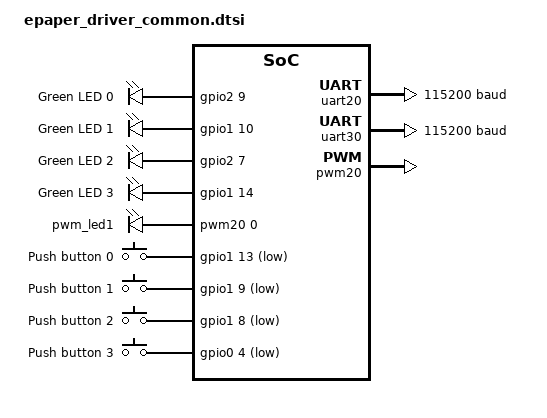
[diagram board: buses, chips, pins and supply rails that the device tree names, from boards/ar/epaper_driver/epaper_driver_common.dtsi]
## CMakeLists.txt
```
cmake_minimum_required(VERSION 3.20.0)

set(BOARD nrf54l15dk/nrf54l15/cpuapp)

#find_package(Zephyr)
find_package(Zephyr REQUIRED HINTS $ENV{ZEPHYR_BASE})
project(zapp)

add_subdirectory(drivers)
zephyr_include_directories(include)

target_sources(app PRIVATE src/main.c src/cbor.c src/coap_request.c src/heatshrink/heatshrink_decoder.c src/wrapped_settings.c)
target_link_libraries(app PRIVATE generic_epaper)
```

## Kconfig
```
source "Kconfig.zephyr"

rsource "drivers/Kconfig"
```

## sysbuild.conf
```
SB_CONFIG_BOOTLOADER_MCUBOOT=y

SB_CONFIG_BOOT_SIGNATURE_TYPE_ED25519=y

# Having the private key sitting out here in the wild is a bad practice.
# It _should_ be stored in vault or a similar HSM-backed store.
# Zephyr does _not_ have good support for this flow at all.
# Manually signing the app would be fine, but injecting the public part into mcuboot is.... poorly supported.
# (CONFIG_MCUBOOT_GENERATE_UNSIGNED_IMAGE would produce an unsigned binary I think)
# mcuboot/boot/zephyr/CMakeLists.txt injects the keyfile into "autogen-pubkey.c".
# This would need a patch to accept a public key directly via a config flag (not _that_ bad....)
# I feel like in a real production app, sysbuild just makes things overly complex.
SB_CONFIG_BOOT_SIGNATURE_KEY_FILE="${APP_DIR}/signing_key.pem"
```

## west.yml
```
manifest:
  remotes:
    - name: zephyrproject-rtos
      url-base: https://github.com/zephyrproject-rtos

  projects:
    - name: zephyr
      remote: zephyrproject-rtos
      revision: main
      import:
        # By using name-allowlist we can clone only the modules that are
        # strictly needed by the application.
        name-allowlist:
          - cmsis_6    # required by the ARM port for Cortex-M
          - hal_stm32  # required by the nucleo_f302r8 board (STM32 based)
```

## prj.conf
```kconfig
CONFIG_GPIO=y
CONFIG_LOG=y
CONFIG_HEAP_MEM_POOL_SIZE=16384
CONFIG_DISPLAY_LOG_LEVEL_INF=y

CONFIG_SYSTEM_WORKQUEUE_STACK_SIZE=4096
CONFIG_MAIN_STACK_SIZE=8192

CONFIG_GENERIC_EPAPER=y

#Uncomment these for RTT shell/console/logs
CONFIG_RTT_CONSOLE=y
CONFIG_USE_SEGGER_RTT=y
CONFIG_SHELL_BACKEND_RTT=y

# Uncomment these for UART shell/console/logs
#CONFIG_USE_SEGGER_RTT=n
#CONFIG_UART_CONSOLE=y
#CONFIG_SHELL_BACKEND_SERIAL=y
#CONFIG_LOG_BACKEND_UART=y

#CONFIG_SHELL_BACKEND_SERIAL=y

CONFIG_SHELL_LOG_BACKEND=y
CONFIG_SHELL_STACK_SIZE=8192
#CONFIG_LOG_BACKEND_UART=y
#CONFIG_USE_SEGGER_RTT=n

CONFIG_LOG_BUFFER_SIZE=8096
#openthread logging is super noisy because platform/logging.c doesn't dynamically set LOG_LEVEL: #define LOG_LEVEL LOG_LEVEL_DBG
#CONFIG_LOG_DEFAULT_LEVEL=4
#CONFIG_LOG_MAX_LEVEL=4

CONFIG_SHELL=y

CONFIG_NETWORKING=y
CONFIG_NET_SHELL=y
CONFIG_NET_L2_OPENTHREAD=y

CONFIG_OPENTHREAD_SYS_INIT=y
CONFIG_OPENTHREAD_MANUAL_START=y
CONFIG_OPENTHREAD_SHELL=y
CONFIG_OPENTHREAD_PING_SENDER=y
CONFIG_OPENTHREAD_SLAAC=y
CONFIG_OPENTHREAD_THREAD_VERSION_1_3=y

#CONFIG_OPENTHREAD_DEBUG=y
#CONFIG_OPENTHREAD_FULL_LOGS=y
#CONFIG_OPENTHREAD_LOG_LEVEL_INFO=y
#CONFIG_OPENTHREAD_L2_DEBUG=n
#CONFIG_OPENTHREAD_L2_LOG_LEVEL_INF=y

# Disable openthread using the zephyr settings API for data storage.
# It writes every time it tries to connect to the network, which is unacceptable
# for write endurance. Maybe if we hook up external flash and use zms / littlefs there,
# it would be OK. For now though, we'll just inject the dataset and everything else
# can be in RAM. This probably means initial connection to the network will take slightly longer.
# But we can't quite do that, since CONFIG_OPENTHREAD_PSA_NVM_BACKEND_ITS winds up being set which stores things in settings _anyways_...
# can we turn that off?
#CONFIG_OPENTHREAD_SETTINGS_RAM=y
#CONFIG_OPENTHREAD_CRYPTO_PSA=n

CONFIG_OPENTHREAD_MTD=y

CONFIG_NCS_APPLICATION_BOOT_BANNER_STRING="epaper-thingy"

# rram will eventually wear out. We write ~38 bytes per boot (plus a little bit more)
# ((4096-80) x 8 x 10000) / 38 = 8454736 boots before we exhaust RRAM.
# even waking every minute that's 18 years before things break.
# in practice, we'll wake every like 6 hours so it'll last well past the expected life of the device.

# https://devzone.nordicsemi.com/f/nordic-q-a/117093/how-to-configure-settings-api-to-work-on-a-specific-partition-defined-in-the-pm_static-yaml-file
# suggests building then renaming to pm_static.yaml.
# (it's in build/partitions.yaml)
# This seems dumb. Why can't I use DT to define it??

CONFIG_MCUBOOT_IMG_MANAGER=y
CONFIG_IMG_MANAGER=y
CONFIG_IMG_MANAGER_LOG_LEVEL_DBG=y
# MCUBOOT_BOOTUTIL_LIB

CONFIG_PM_PARTITION_SIZE_SETTINGS_STORAGE=0x8000

CONFIG_COAP=y
CONFIG_COAP_CLIENT=y
CONFIG_COAP_LOG_LEVEL_INF=y
CONFIG_COAP_CLIENT_STACK_SIZE=4096

CONFIG_NET_LOG=y

CONFIG_NET_UDP=y
CONFIG_NET_SOCKETS=y
CONFIG_NET_CONNECTION_MANAGER=y

CONFIG_IMG_BLOCK_BUF_SIZE=512

# CONFIG_SETTINGS_ZMS_SECTOR_COUNT
# CONFIG_SETTINGS_ZMS_CUSTOM_SECTOR_COUNT

CONFIG_FLASH=y
CONFIG_FLASH_MAP=y
CONFIG_STREAM_FLASH=y
CONFIG_NVS=n
CONFIG_SETTINGS=y
CONFIG_SETTINGS_RUNTIME=y
#CONFIG_SETTINGS_NVS=y
#CONFIG_NVS_LOG_LEVEL_DBG=y
CONFIG_SETTINGS_ZMS=y
CONFIG_ZMS=y
CONFIG_ZMS_LOG_LEVEL_DBG=y
CONFIG_ZMS_LOOKUP_CACHE=y
CONFIG_ZMS_LOOKUP_CACHE_FOR_SETTINGS=y
CONFIG_ZMS_NO_DOUBLE_WRITE=y
CONFIG_SETTINGS_LOG_LEVEL_DBG=y
CONFIG_SETTINGS_ZMS_MAX_COLLISIONS_BITS=4
CONFIG_SETTINGS_SHELL=y
CONFIG_SETTINGS_LOG_LEVEL_DBG=y

# enable uart driver
CONFIG_SERIAL=y
# enable console
CONFIG_CONSOLE=y

CONFIG_ZCBOR=y
CONFIG_ZCBOR_CANONICAL=y

CONFIG_UART_CONSOLE_LOG_LEVEL_DBG=y

CONFIG_WATCHDOG=y
CONFIG_WDT_DISABLE_AT_BOOT=y
CONFIG_SENSOR=y
CONFIG_SENSOR_SHELL=y
CONFIG_REGULATOR=y
CONFIG_REGULATOR_SHELL=n
CONFIG_HW_ID_LIBRARY=y

CONFIG_I2C_LOG_LEVEL_INF=y
```

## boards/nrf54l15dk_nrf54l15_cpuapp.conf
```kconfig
# disable low frequency oscillator

CONFIG_CLOCK_CONTROL=y
CONFIG_CLOCK_CONTROL_NRF=y

# use grtc as system timer
CONFIG_NRF_GRTC_TIMER=y
CONFIG_NRF_GRTC_START_SYSCOUNTER=y

# Enable LFRC (internal RC oscillator)
CONFIG_CLOCK_CONTROL_NRF_K32SRC_RC=y
CONFIG_CLOCK_CONTROL_NRF_K32SRC_FREQUENCY=32768

# Disable LFXO (external 32kHz crystal)
CONFIG_CLOCK_CONTROL_NRF_K32SRC_XTAL=n

# Disable synthesized LFCLK from HFCLK
CONFIG_CLOCK_CONTROL_NRF_K32SRC_SYNTH=n

CONFIG_CLOCK_CONTROL_NRF_K32SRC_500PPM=y
CONFIG_CLOCK_CONTROL_NRF_K32SRC_RC_CALIBRATION=y
CONFIG_CLOCK_CONTROL_NRF_CALIBRATION_LF_ALWAYS_ON=y
```

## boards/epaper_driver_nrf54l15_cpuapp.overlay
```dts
/ {
    chosen {
      //zephyr,settings-partition = &storage_partition;
    };

    leds {
      compatible = "gpio-leds";
	  };

    aliases {
      heartbeat-led = &led0;
    };

};

&pinctrl {
  spi21_default: spi21_default {
    group1 {
      psels = <NRF_PSEL(SPIM_SCK, 1, 12)>,
        <NRF_PSEL(SPIM_MOSI, 1, 11)>,
        <NRF_PSEL(SPIM_MISO, 1, 7)>;
    };
  };

  spi21_sleep: spi21_sleep {
    group1 {
      psels = <NRF_PSEL(SPIM_SCK, 1, 12)>,
        <NRF_PSEL(SPIM_MOSI, 1, 11)>,
        <NRF_PSEL(SPIM_MISO, 1, 7)>;
        low-power-enable;
    };
  };
};

&spi21 {
	clock-frequency = <DT_FREQ_M(1)>;
	status = "okay";
  cs-gpios = <&gpio1 13 GPIO_ACTIVE_LOW>;
  pinctrl-0 = <&spi21_default>;
	pinctrl-1 = <&spi21_sleep>;
	pinctrl-names = "default", "sleep";

  eink: generic_epaper@0 {
        reg = <0x0>;
        spi-max-frequency = <DT_FREQ_M(1)>;
        status = "okay";
        compatible = "ar,generic-epaper";

        reset-gpios = <&gpio1 8 GPIO_ACTIVE_LOW>;
        dc-gpios = <&gpio1 14 GPIO_ACTIVE_HIGH>;
        busy-gpios = <&gpio1 9 (GPIO_ACTIVE_LOW | GPIO_PULL_UP)>;
        en-gpios = <&gpio1 10 GPIO_ACTIVE_LOW>;
  };

};
```

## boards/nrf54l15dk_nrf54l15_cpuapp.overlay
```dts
/ {
    chosen {
      //zephyr,settings-partition = &storage_partition;
    };

};

/delete-node/ &lfxo;

&grtc {
      /delete-property/ clocks;
      /delete-property/ clock-names;
      clocks = <&pclk>;
      clock-names = "hfclock";

      owned-channels = <0 1 2 3 4 5 6 7 8 9 10 11>;
	/* Channels 7-11 reserved for Zero Latency IRQs, 3-4 for FLPR */
	child-owned-channels = <3 4 7 8 9 10 11>;
	status = "okay";
};

&pinctrl {
  spi21_default: spi21_default {
    group1 {
      psels = <NRF_PSEL(SPIM_SCK, 1, 8)>,
        <NRF_PSEL(SPIM_MOSI, 1, 9)>,
        <NRF_PSEL(SPIM_MISO, 1, 13)>;
    };
  };

  spi21_sleep: spi21_sleep {
    group1 {
      psels = <NRF_PSEL(SPIM_SCK, 1, 8)>,
        <NRF_PSEL(SPIM_MOSI, 1, 9)>,
        <NRF_PSEL(SPIM_MISO, 1, 13)>;
        low-power-enable;
    };
  };
};

&spi21 {
	clock-frequency = <DT_FREQ_M(1)>;
	status = "okay";
  cs-gpios = <&gpio1 11 GPIO_ACTIVE_LOW>;
  pinctrl-0 = <&spi21_default>;
	pinctrl-1 = <&spi21_sleep>;
	pinctrl-names = "default", "sleep";

  eink: generic_epaper@0 {
            reg = <0x0>;
            spi-max-frequency = <DT_FREQ_M(1)>;
            status = "okay";
            compatible = "ar,generic-epaper";

            reset-gpios = <&gpio1 14 GPIO_ACTIVE_LOW>;
            dc-gpios = <&gpio1 10 GPIO_ACTIVE_HIGH>;
            busy-gpios = <&gpio1 12 (GPIO_ACTIVE_LOW | GPIO_PULL_UP)>;
      };
};
```

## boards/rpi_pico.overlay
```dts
/ {
    chosen {
      zephyr,display = &eink;
    };

    mipi_dbi {
    compatible = "zephyr,mipi-dbi-spi";
    spi-dev = <&spi0>;
    reset-gpios = <&gpio0 21 GPIO_ACTIVE_LOW>;
    dc-gpios = <&gpio0 20 GPIO_ACTIVE_HIGH>;
    #address-cells = <1>;
    #size-cells = <0>;
    eink: uc8719@0 {
      compatible = "ultrachip,uc8179";
      busy-gpios = <&gpio0 22 GPIO_ACTIVE_LOW>;
      //duplex = <2048>; // half duplex.
      reg = <0x0>;
      mipi-max-frequency = <1000000>;
      mipi-mode = "MIPI_DBI_MODE_SPI_4WIRE";
      softstart = [27 27 2F 17];
			width = <800>;
			height = <480>;

      full {
				pwr = [17 17 3F 3F 11];
        vdcs = <0x24>;
        pll = <0x06>;
				//cdi = <0x10>;
				//t_c_o_n = <0x22>;

        lutc = [00 0F 0F 00 00 01 
                00 0F 01 0F 01 02 
                00 0F 0F 00 00 01 
                00 00 00 00 00 00 
                00 00 00 00 00 00 
                00 00 00 00 00 00 
                00 00 00 00 00 00];
        lutww = [10 0F 0F 00 00 01 
                  84 0F 01 0F 01 02 
                  20 0F 0F 00 00 01 
                  00 00 00 00 00 00 
                  00 00 00 00 00 00 
                  00 00 00 00 00 00 
                  00 00 00 00 00 00];
        lutkw = [10  0F  0F  00  00  01  
                84  0F  01  0F  01  02  
                20  0F  0F  00  00  01  
                00  00  00  00  00  00  
                00  00  00  00  00  00  
                00  00  00  00  00  00  
                00  00  00  00  00  00];
        lutwk = [80 0F 0F 00 00 01 
                84 0F 01 0F 01 02 
                40 0F 0F 00 00 01 
                00 00 00 00 00 00 
                00 00 00 00 00 00 
                00 00 00 00 00 00 
                00 00 00 00 00 00];
        lutkk = [80 0F 0F 00 00 01 
                  84 0F 01 0F 01 02 
                  40 0F 0F 00 00 01 
                  00 00 00 00 00 00 
                  00 00 00 00 00 00 
                  00 00 00 00 00 00 
                  00 00 00 00 00 00];

			};

    };
  };
};

&spi0 {
	clock-frequency = <DT_FREQ_M(1)>;
	status = "okay";
    cs-gpios = <&gpio0 17 GPIO_ACTIVE_LOW>;
};
```

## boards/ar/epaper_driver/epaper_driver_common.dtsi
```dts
/*
 * Copyright (c) 2024 Nordic Semiconductor ASA
 *
 * SPDX-License-Identifier: Apache-2.0
 */

#include "epaper_driver_nrf54l_05_10_15-pinctrl.dtsi"

/ {
	leds {
		compatible = "gpio-leds";

		led0: led_0 {
			gpios = <&gpio2 9 GPIO_ACTIVE_HIGH>;
			label = "Green LED 0";
		};

		led1: led_1 {
			gpios = <&gpio1 10 GPIO_ACTIVE_HIGH>;
			label = "Green LED 1";
		};

		led2: led_2 {
			gpios = <&gpio2 7 GPIO_ACTIVE_HIGH>;
			label = "Green LED 2";
		};

		led3: led_3 {
			gpios = <&gpio1 14 GPIO_ACTIVE_HIGH>;
			label = "Green LED 3";
		};
	};

	pwmleds {
		compatible = "pwm-leds";

		/*
		 * PWM signal can be exposed on GPIO pin only within same domain.
		 * There is only one domain which contains both PWM and GPIO:
		 * PWM20/21/22 and GPIO Port P1.
		 * Only LEDs connected to P1 can work with PWM, for example LED1.
		 */
		pwm_led1: pwm_led_1 {
			pwms = <&pwm20 0 PWM_MSEC(20) PWM_POLARITY_NORMAL>;
		};
	};

	buttons {
		compatible = "gpio-keys";

		button0: button_0 {
			gpios = <&gpio1 13 (GPIO_PULL_UP | GPIO_ACTIVE_LOW)>;
			label = "Push button 0";
			zephyr,code = <INPUT_KEY_0>;
		};

		button1: button_1 {
			gpios = <&gpio1 9 (GPIO_PULL_UP | GPIO_ACTIVE_LOW)>;
			label = "Push button 1";
			zephyr,code = <INPUT_KEY_1>;
		};

		button2: button_2 {
			gpios = <&gpio1 8 (GPIO_PULL_UP | GPIO_ACTIVE_LOW)>;
			label = "Push button 2";
			zephyr,code = <INPUT_KEY_2>;
		};

		button3: button_3 {
			gpios = <&gpio0 4 (GPIO_PULL_UP | GPIO_ACTIVE_LOW)>;
			label = "Push button 3";
			zephyr,code = <INPUT_KEY_3>;
		};
	};

	aliases {
		led0 = &led0;
		led1 = &led1;
		led2 = &led2;
		led3 = &led3;
		pwm-led0 = &pwm_led1;
		sw0 = &button0;
		sw1 = &button1;
		sw2 = &button2;
		sw3 = &button3;
		watchdog0 = &wdt31;
	};
};

&uart20 {
	current-speed = <115200>;
	pinctrl-0 = <&uart20_default>;
	pinctrl-1 = <&uart20_sleep>;
	pinctrl-names = "default", "sleep";
};

&uart30 {
	current-speed = <115200>;
	pinctrl-0 = <&uart30_default>;
	pinctrl-1 = <&uart30_sleep>;
	pinctrl-names = "default", "sleep";
};

&pwm20 {
	status = "okay";
	pinctrl-0 = <&pwm20_default>;
	pinctrl-1 = <&pwm20_sleep>;
	pinctrl-names = "default", "sleep";
};

&hfxo {
	startup-time-us = <854>;
};

/* Get a node label for wi-fi spi to use in shield files */
wifi_spi: &spi22 {};
```

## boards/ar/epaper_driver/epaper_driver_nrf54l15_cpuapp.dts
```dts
/*
 * Copyright (c) 2024 Nordic Semiconductor ASA
 *
 * SPDX-License-Identifier: Apache-2.0
 */

/dts-v1/;

#include <nordic/nrf54l15_cpuapp.dtsi>

#include "epaper_driver_nrf54l_05_10_15-pinctrl.dtsi"

/ {
	compatible = "ar,epaper_driver_nrf54l15-cpuapp";
	model = "nRF54L15 powered epaper driver test board";

	chosen {
		zephyr,code-partition = &slot0_partition;
		zephyr,sram = &cpuapp_sram;

                zephyr,console = &uart30;
		zephyr,shell-uart = &uart30;
		zephyr,uart-mcumgr = &uart30;
		zephyr,bt-mon-uart = &uart30;
		zephyr,bt-c2h-uart = &uart30;
		zephyr,flash-controller = &rram_controller;
		zephyr,flash = &cpuapp_rram;
		zephyr,ieee802154 = &ieee802154;
		zephyr,boot-mode = &boot_mode0;
	};

        aliases {
		mcuboot-led0 = &led0;

                led0 = &led0;
		watchdog0 = &wdt31;
	};

        leds {
		compatible = "gpio-leds";

		led0: led_0 {
			gpios = <&gpio2 9 GPIO_ACTIVE_HIGH>;
			label = "Green LED 0";
		};
	};
};



/delete-node/ &lfxo;

&grtc {
      /delete-property/ clocks;
      /delete-property/ clock-names;
      clocks = <&pclk>;
      clock-names = "hfclock";

      owned-channels = <0 1 2 3 4 5 6 7 8 9 10 11>;
	/* Channels 7-11 reserved for Zero Latency IRQs, 3-4 for FLPR */
	child-owned-channels = <3 4 7 8 9 10 11>;
	status = "okay";
};


&cpuapp_sram {
	status = "okay";
};

&hfxo {
	load-capacitors = "internal";
	load-capacitance-femtofarad = <15000>;
        startup-time-us = <854>;
};

&regulators {
	status = "okay";
};

&vregmain {
	status = "okay";
	regulator-initial-mode = <NRF5X_REG_MODE_DCDC>;
};

&uart20 {
	status = "disabled";
        
        current-speed = <115200>;
	pinctrl-0 = <&uart20_default>;
	pinctrl-1 = <&uart20_sleep>;
	pinctrl-names = "default", "sleep";
};
&uart30 {
        status = "okay";
	current-speed = <115200>;
	pinctrl-0 = <&uart30_default>;
	pinctrl-1 = <&uart30_sleep>;
	pinctrl-names = "default", "sleep";
};

&i2c20 {
        compatible = "nordic,nrf-twim";
        status = "okay";
        pinctrl-0 = <&i2c20_default>;
        pinctrl-1 = <&i2c20_sleep>;
        pinctrl-names = "default", "sleep";

        npm2100_pmic: pmic@74 {
                compatible = "nordic,npm2100";
                reg = <0x74>;
                pmic-int-pin = <1>;
                pmic-int-flags = <(GPIO_ACTIVE_LOW | GPIO_OPEN_DRAIN)>;
                host-int-type = "level";
                host-int-gpios = <&gpio0 2 GPIO_ACTIVE_LOW>;
                shiphold-longpress = "disable";
                

                npm2100_gpio: gpio-controller {
                        compatible = "nordic,npm2100-gpio";
                        gpio-controller;
                        #gpio-cells = <2>;
                        ngpios = <2>;
                };

                npm2100_regulators: regulators {
                        compatible = "nordic,npm2100-regulator";

                        /* limits are set to min/max allowed values */
                        npm2100_boost: BOOST {
                                regulator-min-microvolt = <1800000>;
                                regulator-max-microvolt = <3300000>;
                                regulator-init-microvolt = <3300000>;
                                regulator-init-microamp = <0>;
                        };

                        npm2100_ldosw: LDOSW {
                                regulator-min-microvolt = <800000>;
                                regulator-max-microvolt = <3000000>;
                        };
                };

                npm2100_wdt: watchdog {
                        compatible = "nordic,npm2100-wdt";
                };

                npm2100_vbat: vbat {
                        compatible = "nordic,npm2100-vbat";
                };
        };

};

&nfct {
	status = "disabled";
};

&gpio0 {
	status = "okay";
};

&gpio1 {
	status = "okay";
};

&gpio2 {
	status = "okay";
};

&gpiote20 {
	status = "okay";
};

&gpiote30 {
	status = "okay";
};

&radio {
	status = "okay";
};

&ieee802154 {
	status = "okay";
};

&temp {
	status = "okay";
};

&clock {
	status = "okay";
};

&gpregret1 {
	status = "okay";

	boot_mode0: boot_mode@0 {
		compatible = "zephyr,retention";
		status = "okay";
		reg = <0x0 0x1>;
	};
};

&spi00 {
	status = "disabled";
};

&adc {
	status = "okay";
};

&pwm20 {
	status = "okay";
	pinctrl-0 = <&pwm20_default>;
	pinctrl-1 = <&pwm20_sleep>;
	pinctrl-names = "default", "sleep";
};

/* Get a node label for wi-fi spi to use in shield files */
wifi_spi: &spi22 {};


/* Include default memory partition configuration file */
#include <nordic/nrf54l15_partition.dtsi>
```

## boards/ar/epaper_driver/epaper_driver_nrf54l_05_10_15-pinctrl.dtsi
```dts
/*
 * Copyright (c) 2024 Nordic Semiconductor
 * SPDX-License-Identifier: Apache-2.0
 */

&pinctrl {
	/omit-if-no-ref/ uart20_default: uart20_default {
		group1 {
			psels = <NRF_PSEL(UART_TX, 1, 4)>,
				<NRF_PSEL(UART_RTS, 1, 6)>;
		};

		group2 {
			psels = <NRF_PSEL(UART_RX, 1, 5)>,
				<NRF_PSEL(UART_CTS, 1, 7)>;
			bias-pull-up;
		};
	};

	/omit-if-no-ref/ uart20_sleep: uart20_sleep {
		group1 {
			psels = <NRF_PSEL(UART_TX, 1, 4)>,
				<NRF_PSEL(UART_RX, 1, 5)>,
				<NRF_PSEL(UART_RTS, 1, 6)>,
				<NRF_PSEL(UART_CTS, 1, 7)>;
			low-power-enable;
		};
	};

	i2c20_default: i2c20_default {
			group1 {
					psels = <NRF_PSEL(TWIM_SDA, 1, 5)>,
							<NRF_PSEL(TWIM_SCL, 1, 4)>;
			};
	};

	i2c20_sleep: i2c20_sleep {
			group1 {
					psels = <NRF_PSEL(TWIM_SDA, 1, 5)>,
							<NRF_PSEL(TWIM_SCL, 1, 4)>;
					low-power-enable;
			};
	};


	/omit-if-no-ref/ uart30_default: uart30_default {
		group1 {
			psels = <NRF_PSEL(UART_TX, 0, 0)>,
				<NRF_PSEL(UART_RTS, 0, 4)>;
		};

		group2 {
			psels = <NRF_PSEL(UART_RX, 0, 1)>,
				<NRF_PSEL(UART_CTS, 0, 3)>;
			bias-pull-up;
		};
	};

	/omit-if-no-ref/ uart30_sleep: uart30_sleep {
		group1 {
			psels = <NRF_PSEL(UART_TX, 0, 0)>,
				<NRF_PSEL(UART_RX, 0, 1)>,
				<NRF_PSEL(UART_RTS, 0, 4)>,
				<NRF_PSEL(UART_CTS, 0, 3)>;
			low-power-enable;
		};
	};

	/omit-if-no-ref/ spi00_default: spi00_default {
		group1 {
			psels = <NRF_PSEL(SPIM_SCK, 2, 1)>,
				<NRF_PSEL(SPIM_MOSI, 2, 2)>,
				<NRF_PSEL(SPIM_MISO, 2, 4)>;
		};
	};

	/omit-if-no-ref/ spi00_sleep: spi00_sleep {
		group1 {
			psels = <NRF_PSEL(SPIM_SCK, 2, 1)>,
				<NRF_PSEL(SPIM_MOSI, 2, 2)>,
				<NRF_PSEL(SPIM_MISO, 2, 4)>;
				low-power-enable;
		};
	};

	/omit-if-no-ref/ pwm20_default: pwm20_default {
		group1 {
			psels = <NRF_PSEL(PWM_OUT0, 1, 10)>;
		};
	};

	/omit-if-no-ref/ pwm20_sleep: pwm20_sleep {
		group1 {
			psels = <NRF_PSEL(PWM_OUT0, 1, 10)>;
			low-power-enable;
		};
	};

	/omit-if-no-ref/ grtc_default: grtc_default {
		group1 {
			psels = <NRF_PSEL(GRTC_CLKOUT_FAST, 1, 8)>,
				<NRF_PSEL(GRTC_CLKOUT_32K, 0, 4)>;
		};
	};

	/omit-if-no-ref/ grtc_sleep: grtc_sleep {
		group1 {
			psels = <NRF_PSEL(GRTC_CLKOUT_FAST, 1, 8)>,
				<NRF_PSEL(GRTC_CLKOUT_32K, 0, 4)>;
			low-power-enable;
		};
	};
};
```

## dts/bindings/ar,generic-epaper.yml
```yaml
include: [spi-device.yaml]

description: |
  Generic e-paper controller for a variety of 24-pin FPC displays.
  The goal of this driver is for the exact display to be runtime configurable, so the same firmware can be used on multiple devices differing primarily by their display.
compatible: "ar,generic-epaper"

properties:
  dc-gpios:
    type: phandle-array
    required: true
    description: |
      Data/command gpio pin. Required when using 4 wire SPI mode (Mode C1).
      Set to low when sending a command, or high when sending data.

  reset-gpios:
    type: phandle-array
    required: true
    description: |
      Reset GPIO pin. Set high to reset the display

  busy-gpios:
    type: phandle-array
    required: true
    description: |
      Busy GPIO pin. Input from the display to indicate if it is ready for additional commands.

  en-gpios:
    type: phandle-array
    description: |
      Enable power to the display. If unset, display will be left in reset when not in use.
```

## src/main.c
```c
/*
 * Copyright (c) 2024 Your Name
 *
 * SPDX-License-Identifier: Apache-2.0
 */

#include <zephyr/kernel.h>
#include <zephyr/device.h>
#include <zephyr/drivers/display.h>
#include <zephyr/devicetree.h>
#include <zephyr/logging/log.h>
#include <zephyr/settings/settings.h>

#include <zephyr/drivers/hwinfo.h>

#include <zephyr/net/openthread.h>
#include <openthread/thread.h>
#include <openthread/dataset.h>

#include <zephyr/net/net_mgmt.h>
#include <zephyr/net/socket.h>
#include <zephyr/net/coap_client.h>

#include <zephyr/dfu/flash_img.h>
#include <zephyr/dfu/mcuboot.h>

#include <app_version.h>
#include <zephyr/sys/util.h>

#include <stdio.h>
#include <zephyr/drivers/gpio.h>

#include "heatshrink/heatshrink_decoder.h"

#if DT_NODE_EXISTS(DT_NODELABEL(npm2100_vbat))
#include <zephyr/drivers/sensor/npm2100_vbat.h>
#include <zephyr/dt-bindings/regulator/npm2100.h>
#include <zephyr/drivers/mfd/npm2100.h>
#endif

#include <zephyr/drivers/regulator.h>
#include <zephyr/drivers/sensor.h>

#include <zcbor_common.h>
#include <zcbor_encode.h>

#include "coap_request.h"
#include "cbor.h"
#include "wrapped_settings.h"

#include <zephyr/drivers/sensor.h>
#include <zephyr/shell/shell.h>

#include <drivers/generic_epaper.h>

// We want to disable some functionality on devkits (particularly OTA upgrades.)
#ifdef CONFIG_BOARD_NRF54L15DK
    #define IS_DEVKIT 1
#else
    #define IS_DEVKIT 0
#endif

LOG_MODULE_REGISTER(app, LOG_LEVEL_INF);

static uint8_t tlvData[111] = {
    #include "tlv_data.hex"
};
void set_ot_data() {
    otOperationalDatasetTlvs tlvs;

    memcpy(tlvs.mTlvs, tlvData, 111);
    tlvs.mLength = 111;
    
    otError err = otDatasetSetActiveTlvs(openthread_get_default_instance(), &tlvs);
    if (err != OT_ERROR_NONE) {
        LOG_ERR("failed to set active TLVs: %d", err);
    }
    else {
        LOG_INF("Set active dataset.");
    }
}

// technically you can just use settings_write for this, but something is broken when using rtt
// and you can't type more than a couple characters into the shell.
static int epd_cfg_callback(const struct shell* shell, size_t argc, char** argv) {
    if (argc < 2) {
        shell_print(shell, "must specify subcmd g or s");
        return 1;
    }
    int ret = 0;
    if (argv[1][0] == 'g') {
        uint8_t expected_type = 0;
        ret = wrapped_settings_get_raw("ep_type", &expected_type, 1, NULL);
        if (ret < 0) {
            shell_print(shell, "failed to read ep type: %d", ret);
        } else {
            shell_print(shell, "got ep type: %u", expected_type);
        }
    }
    else if (argv[1][0] == 's') {
        if (argc < 3) {
            shell_print(shell, "must specify epd type");
            return 1;
        }
        uint8_t argument = argv[2][0];
        if (argument > 57 || argument < 48) {
            shell_print(shell, "arg must be 0-9 %u", argument);
            return 1;
        }

        uint8_t expected_type = argument - 48;
        ret = wrapped_settings_set_raw("ep_type", &expected_type, 1);
        if (ret < 0) {
            shell_print(shell, "failed to write ep type: %d", ret);
        } else {
            shell_print(shell, "wrote ep type: %u", expected_type);
        }
    } else if (argv[1][0] == 'o') {
        set_ot_data();
    } else {
        shell_print(shell, "must specify subcmd g or s was something else %c %zu", argv[1][0], argc);
        return 1;
    }
    return 0;
}

SHELL_CMD_REGISTER(epc, NULL, "epaper config settings", epd_cfg_callback);


/* Define the size of the box */
#define BOX_WIDTH  40
#define BOX_HEIGHT 40

static void on_thread_state_changed(otChangedFlags flags, void *user_data)
{
	if (flags & OT_CHANGED_THREAD_ROLE) {
		switch (otThreadGetDeviceRole(openthread_get_default_instance())) {
		case OT_DEVICE_ROLE_CHILD:
		case OT_DEVICE_ROLE_ROUTER:
		case OT_DEVICE_ROLE_LEADER:
			LOG_INF("OpenThread connected");
			break;

		case OT_DEVICE_ROLE_DISABLED:
		case OT_DEVICE_ROLE_DETACHED:
		default:
			LOG_INF("OpenThread detached");
			break;
		}
	}
    else if (flags & OT_CHANGED_PARENT_LINK_QUALITY) {
        otRouterInfo parentInfo;
        otError err = otThreadGetParentInfo(openthread_get_default_instance(), &parentInfo);
        if (err != OT_ERROR_NONE) {
            LOG_INF("Error getting parent status: %d", err);
        }
        else {
            LOG_INF("Parent link quality changed: in: %u out: %u cost: %u", parentInfo.mLinkQualityIn, parentInfo.mLinkQualityOut, parentInfo.mPathCost);
        }
        
    }
}

static struct openthread_state_changed_callback ot_state_chaged_cb = {
	.otCallback = on_thread_state_changed};



static struct coap_client client = {0};

static int fw_coap_response(const uint8_t *payload, size_t len, size_t offset, bool last_block, void *user_data) {
    struct flash_img_context *write_ctx = (struct flash_img_context *) user_data;

    int err = 0;
    if ((err = flash_img_buffered_write(write_ctx, payload, len, last_block)) < 0) {
        LOG_ERR("Failed writing to flash: %d", err);
        return -1;
    } else {
        LOG_INF("Write succeeded for this block (pos %zu), continuing", offset + len);
    }
    return 0;
}

#define DISPLAY_WIDTH 800
#define DISPLAY_HEIGHT 480

struct buffer_write_context {
    uint8_t *buf;
    size_t max_size;
    size_t current_size;
};

static int buffer_coap_response(const uint8_t *payload, size_t len, size_t offset, bool last_block, void *user_data) {
    struct buffer_write_context * ctx = (struct buffer_write_context *) user_data;

    size_t free_space = ctx->max_size - ctx->current_size;
    size_t to_copy = MIN(len, free_space);

    LOG_INF("Inserting %zu bytes to buffer", to_copy);

    memcpy(ctx->buf + ctx->current_size, payload, to_copy);
    ctx->current_size += to_copy;

    return 0;
}

struct image_write_context {
    struct device *eink_dev;
    size_t max_data;
    size_t total_produced;
    
    heatshrink_decoder hsd;
};

static int img_coap_response(const uint8_t *payload, size_t len, size_t offset, bool last_block, void *user_data)
{
    struct image_write_context * ctx = (struct image_write_context *) user_data;
    size_t payload_pos = 0;
    HSD_sink_res sres;
    HSD_poll_res pres;
    HSD_finish_res fres;

    uint8_t temp_buffer[100];

    while (payload_pos < len) {
        size_t size_in_payload = len - payload_pos;
        size_t actually_read = 0;
        sres = heatshrink_decoder_sink(&ctx->hsd, payload + payload_pos, size_in_payload, &actually_read);
        payload_pos+= actually_read;
        do {
            size_t did_poll = 0;
            pres = heatshrink_decoder_poll(&ctx->hsd, temp_buffer, sizeof(temp_buffer), &did_poll);
            if (pres < 0) { 
                LOG_ERR("pres1 failed: %d", pres);
                return -1;
            }
            //LOG_INF("Polled for %zu bytes", did_poll);
            ctx->total_produced += did_poll;
            if (ctx->total_produced > ctx->max_data) {
                LOG_ERR("would overrun: %zu received", ctx->total_produced);
                return -1;
            }

            if (did_poll > 0) {
                int epd_res = epd_continue_write_data(ctx->eink_dev, temp_buffer, did_poll);
                if (epd_res < 0) {
                    LOG_ERR("Failed write to display: %d", epd_res);
                    return -1;
                }
            }
        } while (pres == HSDR_POLL_MORE);
    }

    LOG_INF("Total produced: %zu", ctx->total_produced);
	    
    if (last_block) {
        fres = heatshrink_decoder_finish(&ctx->hsd);
        if (fres == HSDR_FINISH_MORE) {
            LOG_INF("Got bytes after finish...");
            do {
                size_t did_poll = 0;
                pres = heatshrink_decoder_poll(&ctx->hsd, temp_buffer, sizeof(temp_buffer), &did_poll);
                if (pres < 0) { 
                    LOG_ERR("pres failed: %d", pres);
                    return -1;
                }
                LOG_INF("finish polled for %zu bytes", did_poll);
                ctx->total_produced += did_poll;
                if (ctx->total_produced > ctx->max_data) {
                    LOG_ERR("would overrun: %zu received", ctx->total_produced);
                    return -1;
                }
                if (did_poll > 0) {
                    int epd_res = epd_continue_write_data(ctx->eink_dev, temp_buffer, did_poll);
                    if (epd_res < 0) {
                        LOG_ERR("Failed write to display: %d", epd_res);
                        return -1;
                    }
                }
            } while (pres == HSDR_POLL_MORE);
        } else {
            LOG_INF("Finish result: %d", fres);
        }
    }

    return 0;
}

uint64_t get_deviceaddr_mac() {

    uint64_t device_id_mac = 0;

#ifndef USE_DEVADDR_AS_DEVICE_ID
    int ret = hwinfo_get_device_id((uint8_t*)&device_id_mac, 8);
    if (ret < 0) {
        LOG_ERR("failed to get device ID: %d", ret);
    }
    // only use lower 32 bits for now. web UI and db don't like full 64 bit ints.
    device_id_mac = device_id_mac & 0x00000000FFFFFFFF;
#else
    // believe it or not, this is nordic's suggested approach to read this without the BT stack.
    // https://devzone.nordicsemi.com/f/nordic-q-a/102285/read-nrf_ficr--deviceaddr-in-zephyr
    
    uint32_t * addr_upper = (uint32_t*) 0x00FFC3A4;
    uint16_t * addr_lower = (uint16_t*) 0x00FFC3A8;

    device_id_mac |= ((uint64_t)(*addr_upper)) << 48 | ((uint64_t)addr_lower);

#endif

    return device_id_mac;
}

int32_t get_vbat_mV() {
#if DT_NODE_EXISTS(DT_NODELABEL(npm2100_vbat))
    const struct device *npm2100_vbat = DEVICE_DT_GET(DT_NODELABEL(npm2100_vbat));
    if (!device_is_ready(npm2100_vbat)) {
        LOG_ERR("vbat device not ready.");
        return -1;
    }

    struct sensor_value adc_delay = {0};
    sensor_attr_set(npm2100_vbat, SENSOR_CHAN_GAUGE_VOLTAGE, SENSOR_ATTR_NPM2100_ADC_DELAY, &adc_delay);

    int ret = sensor_sample_fetch_chan(npm2100_vbat, SENSOR_CHAN_GAUGE_VOLTAGE);
    if (ret < 0) {
        LOG_ERR("failed to sample vbat: %d", ret);
        return -1;
    }

    struct sensor_value vbat_res;

    ret = sensor_channel_get(npm2100_vbat, SENSOR_CHAN_GAUGE_VOLTAGE, &vbat_res);
    if (ret < 0) {
        LOG_ERR("failed to get vbat: %d", ret);
        return -1;
    }

    int32_t vbat_mv = (int32_t) sensor_value_to_milli(&vbat_res);

    return vbat_mv;
#else
    LOG_INF("Using fake vbat measurement.");
    return 1900;
#endif
}

static struct image_write_context img_write = {0};


#if DT_NODE_EXISTS(DT_NODELABEL(npm2100_pmic))
static const struct device *npm2100_pmic = DEVICE_DT_GET(DT_NODELABEL(npm2100_pmic));
#endif


// Devkit doesn't have separate EN pin - rst is multiplexed by the breakout board.
#if DT_HAS_ALIAS(heartbeat_led)
static const struct gpio_dt_spec green_led = GPIO_DT_SPEC_GET(DT_ALIAS(heartbeat_led), gpios);
#endif

int main(void)
{
    LOG_INF("Starting app version: %s", APP_VERSION_STRING);
    LOG_INF("Boot swap type: %d", mcuboot_swap_type());
    // Set 3v3 for regulator...
    //int vset_res = regulator_set_voltage(boost, 3300000, 3300000);
    //if (vset_res != 0) {
    //    LOG_ERR("Failed to vset: %d", vset_res);
    //}

#if DT_HAS_ALIAS(heartbeat_led)
    gpio_pin_configure_dt(&green_led, GPIO_OUTPUT_ACTIVE);
    gpio_pin_set_dt(&green_led, 1);
#endif

    /* Get the display device */
    const struct device *eink_dev = DEVICE_DT_GET(DT_NODELABEL(eink));

    if (!device_is_ready(eink_dev)) {
        LOG_ERR("Display device not ready.");
        return 0;
    }

    int ret;

    ret = wrapped_settings_init();
    if (ret < 0) {
            LOG_ERR("failed to initialize settings...: %d", ret);
            return 0;
    }

    // e-paper will not be written to if the type is invalid or we can't get dimensions.
    // This prevents us from bricking a display by writing bad data to it.
    uint8_t ep_disabled = 0;

    uint8_t expected_type = 0;
    ret = wrapped_settings_get_raw("ep_type", &expected_type, 1, NULL);
    if (ret < 0) {
            LOG_ERR("failed to read ep type setting, disabling epd: %d", ret);
            ep_disabled = 1;
    }
    LOG_INF("Got epaper type: %u", expected_type);

    ret = epd_set_type(eink_dev, (epd_type_t) expected_type);
    if (ret < 0) {
            LOG_ERR("failed to set type of display: %d", ret);
            ep_disabled = 1;
    }

    struct epd_dimensions eink_dimensions;
    ret = epd_get_dimensions(eink_dev, &eink_dimensions);
    if (ret < 0) {
        LOG_ERR("failed to get dimensions of display: %d", ret);
        ep_disabled = 1;
    }

    openthread_state_changed_callback_register(&ot_state_chaged_cb);
    //set_ot_data();
    LOG_INF("Starting OpenThread!");
    openthread_run();


	ret = coap_client_init(&client, NULL);
	if (ret) {
		LOG_ERR("Failed to init coap client, err %d", ret);
	}

    uint64_t device_id_mac = get_deviceaddr_mac();

    #if DT_NODE_EXISTS(DT_NODELABEL(npm2100_vbat))
        const struct device *npm2100_vbat = DEVICE_DT_GET(DT_NODELABEL(npm2100_vbat));
        if (!device_is_ready(npm2100_vbat)) {
            LOG_ERR("vbat device not ready.");
            return -1;
        }

        struct sensor_value adc_delay = {0};
        ret = sensor_attr_set(npm2100_vbat, SENSOR_CHAN_GAUGE_VOLTAGE, SENSOR_ATTR_NPM2100_ADC_DELAY, &adc_delay);
        if (ret != 0) {
            LOG_ERR("failed to set ADC delay for vbat: %d", ret);
        }
    #endif

    int32_t vbat_mv = get_vbat_mV();

    struct device_heartbeat_request req = {
        .device_id = device_id_mac, // Note: device_id realistically should be u32. 
        .current_firmware = APPVERSION,
        .protocol_version = 1,
        .vbat_mv = vbat_mv
    };

    uint8_t req_encoded[100];
    size_t req_encoded_size = 0;
    ret = encode_heartbeat_request(&req, req_encoded, sizeof(req_encoded), &req_encoded_size);
    if (ret != 0) {
        LOG_ERR("failed to encode heartbeat: %d", ret);
        req_encoded_size = 0;
    }

    uint8_t res_encoded[100];
    struct buffer_write_context bufwrite = {
        .buf = res_encoded,
        .max_size = 100,
        .current_size = 0
    };

    // default to wake every 5 minutes if not otherwise commanded.
    uint32_t sleep_for_seconds = 600;

    int connection_waits = 0;

    int tried_coap = 0;
    /* The application can now enter a low-power state or do other work */
    while (1) {
        // Are we connected?
        otDeviceRole role = otThreadGetDeviceRole(openthread_get_default_instance());
        if (role == OT_DEVICE_ROLE_CHILD || role == OT_DEVICE_ROLE_ROUTER || role == OT_DEVICE_ROLE_LEADER) {

            if (tried_coap == 0) {
                LOG_INF("Trying CoAP. vbat: %d! %llu", vbat_mv, device_id_mac);
                struct sockaddr sa;
                // calculated manually based on "br nat64prefix" from border router, so we don't need to enable ipv4 stack.
                // fd7d:56af:ad45:2:0:0::/96 -> 10.102.40.113 -> fd7d:56af:ad45:2::a66:2871

                struct sockaddr_in6 *addr6 = (struct sockaddr_in6 *)&sa;

                addr6->sin6_family = AF_INET6;
                addr6->sin6_port = htons(5683);
                zsock_inet_pton(AF_INET6, "fd7d:56af:ad45:1:9fc6:1d58:d2db:2517", &addr6->sin6_addr);

                
                // Do our heartbeat first.

                coap_request_result_t  res = do_coap_request(&client, &sa, "hb", COAP_METHOD_PUT, req_encoded, req_encoded_size, buffer_coap_response, (void*) &bufwrite, 10);
                LOG_INF("HB return code: %d", res);
                if (res == 0) {
                    LOG_INF("Got %zu bytes from HB", bufwrite.current_size);
                    struct device_heartbeat_response hb_resp;
                    res = decode_heartbeat_response(res_encoded, bufwrite.current_size, &hb_resp);
                    if (res == 0) {
                        if (!boot_is_img_confirmed()) {
                            if (boot_write_img_confirmed() != 0) {
                                LOG_ERR("Failed to mark image as confirmed!");
                            } else {
                                LOG_INF("Marked image as OK.");
                            }
                        }

                        LOG_INF("Decoded heartbeat. Desired firmware version: %08x, sleep interval %u", hb_resp.desired_firmware, hb_resp.checkin_interval);
                        
                        if (hb_resp.desired_firmware != APPVERSION && (IS_DEVKIT == 0)) {
                            LOG_WRN("Starting firmware upgrade: %08x -> %08x", APPVERSION, hb_resp.desired_firmware);

                            struct flash_img_context write_ctx;
                            if ((ret = flash_img_init(&write_ctx)) < 0) {
                                LOG_ERR("Failed to init flash image write: %d", ret);
                            }

                            char firmware_path[30] = {0};

                            snprintf(firmware_path, 29, "fw/%08x.bin", hb_resp.desired_firmware);

                            res = do_coap_request(&client, &sa, firmware_path, COAP_METHOD_GET, req_encoded, req_encoded_size, fw_coap_response, (void*) &write_ctx, 120);

                            if (res == 0) {
                                LOG_INF("Firmware upgrade downloaded. Kicking off upgrade....");
                                boot_request_upgrade(0);
                                // by using the npm2100 reset here, we'll set a 10 second wdt
                                // for zephyr to start up again, which should be plenty of time if the image is correct.
                                #if DT_NODE_EXISTS(DT_NODELABEL(npm2100_pmic))
                                mfd_npm2100_reset(npm2100_pmic);
                                #else
                                LOG_INF("no PMIC - reset board manually");
                                #endif
                            }
                        } else {
                            #if IS_DEVKIT == 0
                            LOG_INF("Firmware up to date, no action.");
                            #else
                            LOG_INF("Is devkit, ignoring potential firmware upgrade.");
                            #endif
                        }

                        sleep_for_seconds = hb_resp.checkin_interval;
                    } else {
                        LOG_INF("Failed to decode heartbeat: %d", res);
                    }
                }

                if (ep_disabled == 0) {
                    // Then fetch an updated image
                    memset(&img_write, 0, sizeof(struct image_write_context));
                    heatshrink_decoder_reset(&img_write.hsd);
                    img_write.eink_dev = eink_dev;
                    img_write.max_data = eink_dimensions.expected_data_size;

                    struct image_request img_req = {
                        .device_id = device_id_mac,
                        .epd_type = (uint8_t) EPD_TYPE_WS_75_V2B,
                        .expected_data_size = eink_dimensions.expected_data_size
                    };

                    ret = encode_image_request(&img_req, req_encoded, sizeof(req_encoded), &req_encoded_size);
                    if (ret != 0) {
                        LOG_ERR("failed to encode heartbeat: %d", ret);
                    }

                    res = epd_power_on(eink_dev);
                    if (res < 0) {
                            LOG_ERR("failed to power on display: %d", res);
                            goto hibernate;        
                    }
                    res = epd_start_write_data(eink_dev, 0);
                    if (res < 0) {
                            LOG_ERR("failed to init write: %d", res);
                            goto hibernate;
                    }
                    
                    res = do_coap_request(&client, &sa, "img", COAP_METHOD_GET, req_encoded, req_encoded_size, img_coap_response, (void*) &img_write, 90);
                    LOG_INF("return code: %d", res);
                    res = epd_do_refresh(eink_dev);
                    if (res < 0) {
                            LOG_ERR("failed to finish writing display: %d", res);
                    }
                    k_msleep(1000);
                    LOG_ERR("Done refresh?");
                    res = epd_power_off(eink_dev);
                    if (res < 0) {
                            LOG_ERR("failed to power off display: %d", res);
                    }
                } else {
                    LOG_ERR("epd disabled (bad settings?), did not attempt a write.");
                }

                tried_coap = 1;

                hibernate:
                LOG_INF("About to hibernate for %d seconds", sleep_for_seconds);
                k_msleep(200);
                #if DT_NODE_EXISTS(DT_NODELABEL(npm2100_pmic))
                int hibres = mfd_npm2100_hibernate(npm2100_pmic, sleep_for_seconds * 1000, false);
                k_sleep(K_SECONDS(sleep_for_seconds));
                #else
                LOG_INF("No PMIC - sleeping instead. You probably want to reset the board.");
                k_sleep(K_SECONDS(sleep_for_seconds));
                #endif
                //LOG_INF("hibres: %d", hibres);
            }
        } else {
            connection_waits++;
            if (connection_waits > 60) {
                LOG_INF("No connection after 1 minute. Sleeping for a while...");
                k_msleep(200);
                #if DT_NODE_EXISTS(DT_NODELABEL(npm2100_pmic))
                mfd_npm2100_hibernate(npm2100_pmic, sleep_for_seconds * 1000, false);
                k_sleep(K_SECONDS(sleep_for_seconds));
                #else
                LOG_INF("No PMIC - sleeping manually.");
                k_sleep(K_SECONDS(sleep_for_seconds));
                connection_waits = 0;
                #endif
            }
        }

    #if DT_HAS_ALIAS(heartbeat_led)
        gpio_pin_toggle_dt(&green_led);
    #endif
		
        k_msleep(1000);
    }
    return 0;
}
```

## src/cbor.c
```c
#include <zephyr/kernel.h>
#include <zcbor_encode.h>
#include <zcbor_decode.h>
#include <zcbor_common.h>
#include <string.h>
#include "cbor.h"

// CBOR encode/decode routines for heartbeats.
// In retrospect, CBOR was _really_ the wrong choice here.
// (or perhaps jsut the use of zcbor)
// We're sending map keys as strings over the wire,
// which is just terrible. At some point I should re-work this
// to use integer keys or even better, capnproto/msgpack/raw-structs.

int encode_image_request(const struct image_request *req, uint8_t *buffer, size_t buffer_size, size_t *encoded_size) {
    bool success;

    ZCBOR_STATE_E(states, 4, buffer, buffer_size, 1);

    success = zcbor_map_start_encode(states, 3);
    if (!success) {
        return -ENOMEM;
    }

    /* Encode device_id */
    success = zcbor_tstr_put_lit(states, "device_id") &&
              zcbor_uint64_put(states, req->device_id);
    if (!success) {
        return -ENOMEM;
    }

    success = zcbor_tstr_put_lit(states, "data_size") &&
              zcbor_uint32_put(states, req->expected_data_size);
    if (!success) {
        return -ENOMEM;
    }

    success = zcbor_tstr_put_lit(states, "epd_typ") &&
              zcbor_uint32_put(states, req->epd_type);
    if (!success) {
        return -ENOMEM;
    }

    /* End the map */
    success = zcbor_map_end_encode(states, 4);
    if (!success) {
        return -ENOMEM;
    }

    if (encoded_size) {
        *encoded_size = states[0].payload - buffer;
    }

    return 0;
}

/*
 * Encode a DeviceHeartbeatRequest into CBOR format
 *
 * @param req: The request structure to encode
 * @param buffer: Output buffer for CBOR data
 * @param buffer_size: Size of the output buffer
 * @param encoded_size: Returns the actual encoded size
 * @return: 0 on success, negative error code on failure
 */
int encode_heartbeat_request(const struct device_heartbeat_request *req,
                           uint8_t *buffer, size_t buffer_size, size_t *encoded_size)
{
    bool success;

    ZCBOR_STATE_E(states, 4, buffer, buffer_size, 1);

    /* Start encoding a map with 3 key-value pairs */
    success = zcbor_map_start_encode(states, 4);
    if (!success) {
        return -ENOMEM;
    }

    /* Encode device_id */
    success = zcbor_tstr_put_lit(states, "device_id") &&
              zcbor_uint64_put(states, req->device_id);
    if (!success) {
        return -ENOMEM;
    }

    /* Encode current_firmware */
    success = zcbor_tstr_put_lit(states, "current_firmware") &&
              zcbor_uint32_put(states, req->current_firmware);
    if (!success) {
        return -ENOMEM;
    }

    /* Encode protocol_version */
    success = zcbor_tstr_put_lit(states, "protocol_version") &&
              zcbor_uint32_put(states, req->protocol_version);
    if (!success) {
        return -ENOMEM;
    }

    /* Encode protocol_version */
    success = zcbor_tstr_put_lit(states, "vbat_mv") &&
              zcbor_int32_put(states, req->vbat_mv);
    if (!success) {
        return -ENOMEM;
    }

    /* End the map */
    success = zcbor_map_end_encode(states, 4);
    if (!success) {
        return -ENOMEM;
    }

    if (encoded_size) {
        *encoded_size = states[0].payload - buffer;
    }

    return 0;
}

/*
 * Decode a DeviceHeartbeatResponse from CBOR format
 *
 * @param buffer: CBOR data to decode
 * @param buffer_size: Size of the CBOR data
 * @param resp: Output structure for decoded response
 * @return: 0 on success, negative error code on failure
 */
int decode_heartbeat_response(const uint8_t *buffer, size_t buffer_size,
                            struct device_heartbeat_response *resp)
{
    

    ZCBOR_STATE_D(states, 3, buffer, buffer_size, 1, 2);

    /* Start decoding the map */
    bool success = zcbor_map_start_decode(states);
    if (!success) {
        return -EINVAL;
    }

    /* Initialize response structure */
    memset(resp, 0, sizeof(*resp));

    struct zcbor_string key;

    /* Decode map entries - we expect 2 key-value pairs */
    while (!zcbor_array_at_end(states)) {
        // maps are always keyed with strings in our protocol.
        success = zcbor_tstr_decode(states, &key);
		if (!success) {
			return -EINVAL;
		}

        if (key.len == strlen("desired_firmware") &&
            memcmp(key.value, "desired_firmware", key.len) == 0) {
            success = zcbor_uint32_decode(states, &resp->desired_firmware);
            if (!success) {
                return -EINVAL;
            }
        } else if (key.len == strlen("checkin_interval") &&
                   memcmp(key.value, "checkin_interval", key.len) == 0) {
            success = zcbor_uint32_decode(states, &resp->checkin_interval);
            if (!success) {
                return -EINVAL;
            }
        } else {
            /* Unknown key - skip the value */
            zcbor_any_skip(states, NULL);
        }
    }

    /* End the map */
    success = zcbor_map_end_decode(states);
    if (!success) {
        return -EINVAL;
    }

    return 0;
}
```

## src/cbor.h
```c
#pragma once

/* Structure definitions matching the Rust types */
struct device_heartbeat_request {
    uint64_t device_id;
    uint32_t current_firmware;
    uint8_t protocol_version;
    int32_t vbat_mv;
};

struct image_request {
    uint64_t device_id;
    uint8_t epd_type;
    uint32_t expected_data_size;
};

struct device_heartbeat_response {
    uint32_t desired_firmware;
    uint32_t checkin_interval;
};

int encode_heartbeat_request(const struct device_heartbeat_request *req, uint8_t *buffer, size_t buffer_size, size_t *encoded_size);
int encode_image_request(const struct image_request *req, uint8_t *buffer, size_t buffer_size, size_t *encoded_size);
int decode_heartbeat_response(const uint8_t *buffer, size_t buffer_size,struct device_heartbeat_response *resp);
```

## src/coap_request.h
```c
#pragma once

#include <zephyr/kernel.h>
#include <zephyr/net/socket.h>
#include <zephyr/net/coap_client.h>

/**
 * Result codes for CoAP requests
 */
typedef enum {
    COAP_REQUEST_SUCCESS = 0,
    COAP_REQUEST_TIMEOUT = -1,
    COAP_REQUEST_NETWORK_ERROR = -2,
    COAP_REQUEST_PROTO_ERROR = -3,
    COAP_REQUEST_CALLBACK_ABORT = -4
} coap_request_result_t;

/**
 * Stream callback function type
 *
 * Called for each chunk of data received successfully.
 * Only called for valid data - never for errors.
 *
 * @param data: Pointer to received data
 * @param len: Length of data in bytes
 * @param offset: Byte offset of this chunk in the overall transfer
 * @param user_data: User-provided context pointer
 * @return: 0 to continue, negative to abort the request
 */
typedef int (*coap_stream_callback_t)(
    const uint8_t *data,
    size_t len,
    size_t offset,
    bool is_last,
    void *user_data
);

coap_request_result_t do_coap_request(struct coap_client *client, struct sockaddr *server_addr, const char* path, enum coap_method method, const uint8_t* payload, size_t payload_len, coap_stream_callback_t stream_cb, void* user_data, uint32_t timeout_seconds);
```
